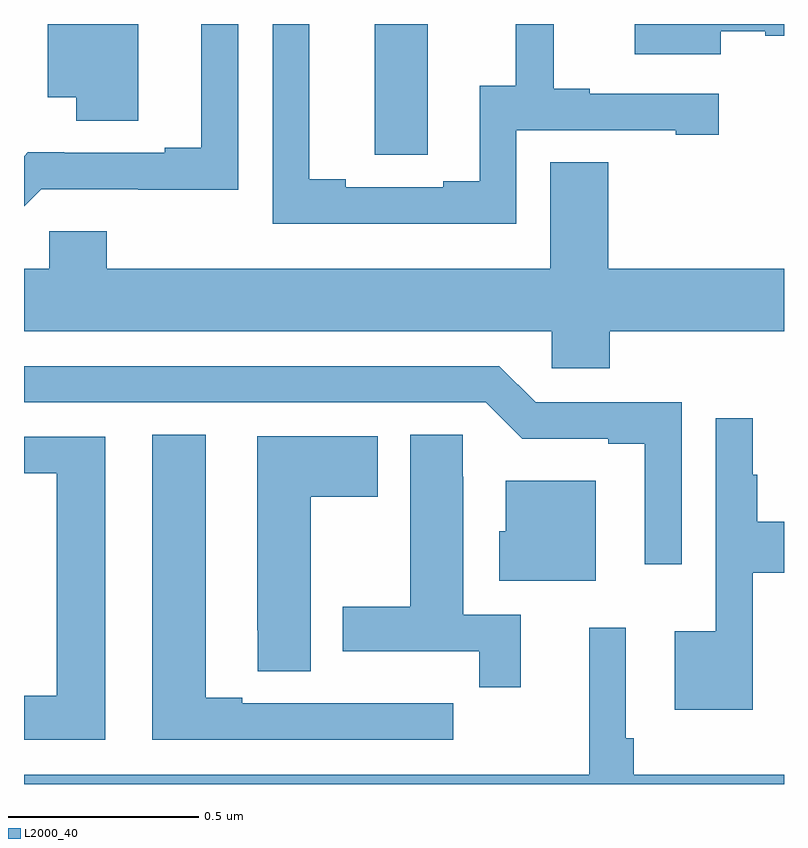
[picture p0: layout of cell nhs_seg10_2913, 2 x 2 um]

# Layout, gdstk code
import gdstk
lib = gdstk.Library(unit=1e-6, precision=1e-09)
def P(c, l, *ps):  # polygons
    for p in ps: c.add(gdstk.Polygon(p, *l))
L2000_40 = (2000, 40)

nhs_seg10_2913 = lib.new_cell('nhs_seg10_2913')
P(nhs_seg10_2913, L2000_40, [(148.296,1258.221),(148.715,1258.221),(148.715,1258.209),(148.828,1258.209),(148.828,1258.317),(148.489,1258.317),(148.489,1258.33),(148.394,1258.33),(148.394,1258.5),(148.294,1258.5),(148.294,1258.337),(148.199,1258.337),(148.199,1258.086),(148.103,1258.086),(148.103,1258.071),(147.847,1258.071),(147.847,1258.091),(147.751,1258.091),(147.751,1258.5),(147.654,1258.5),(147.654,1257.975),(148.296,1257.975)],
  [(147.301,1258.5),(147.062,1258.5),(147.062,1258.307),(147.137,1258.307),(147.137,1258.246),(147.301,1258.246)],
  [(147.045,1258.065),(147.301,1258.065),(147.301,1258.064),(147.564,1258.064),(147.564,1258.5),(147.467,1258.5),(147.467,1258.174),(147.371,1258.174),(147.371,1258.161),(147.106,1258.161),(147.106,1258.162),(147.01,1258.162),(147,1258.152),(147,1258.02)],
  [(148.834,1258.481),(148.95,1258.481),(148.95,1258.469),(149,1258.469),(149,1258.5),(148.607,1258.5),(148.607,1258.421),(148.834,1258.421)],
  [(148.062,1258.264),(148.063,1258.264),(148.063,1258.5),(147.923,1258.5),(147.923,1258.156),(148.062,1258.156)],
  [(148.541,1257.692),(149,1257.692),(149,1257.856),(148.538,1257.856),(148.538,1258.136),(148.385,1258.136),(148.385,1257.856),(147.218,1257.856),(147.218,1257.954),(147.066,1257.954),(147.066,1257.856),(147,1257.856),(147,1257.692),(148.389,1257.692),(148.389,1257.594),(148.541,1257.594)],
  [(148.731,1257.504),(148.347,1257.504),(148.251,1257.6),(147,1257.6),(147,1257.504),(148.215,1257.504),(148.311,1257.408),(148.538,1257.408),(148.538,1257.396),(148.634,1257.396),(148.634,1257.078),(148.731,1257.078)],
  [(148.918,1257.056),(149,1257.056),(149,1257.19),(148.93,1257.19),(148.93,1257.314),(148.918,1257.314),(148.918,1257.463),(148.821,1257.463),(148.821,1256.902),(148.712,1256.902),(148.712,1256.696),(148.918,1256.696)],
  [(148.307,1256.946),(148.156,1256.946),(148.156,1257.308),(148.155,1257.308),(148.155,1257.419),(148.016,1257.419),(148.016,1256.967),(147.839,1256.967),(147.839,1256.85),(148.198,1256.85),(148.198,1256.754),(148.307,1256.754)],
  [(148.129,1256.712),(148.016,1256.712),(148.016,1256.713),(147.85,1256.713),(147.85,1256.712),(147.574,1256.712),(147.574,1256.727),(147.478,1256.727),(147.478,1257.419),(147.338,1257.419),(147.338,1256.616),(148.129,1256.616)],
  [(147.754,1257.256),(147.931,1257.256),(147.931,1257.415),(147.614,1257.415),(147.614,1256.905),(147.615,1256.905),(147.615,1256.797),(147.754,1256.797)],
  [(147.214,1257.414),(147,1257.414),(147,1257.318),(147.086,1257.318),(147.086,1256.732),(147,1256.732),(147,1256.616),(147.214,1256.616)],
  [(148.504,1257.298),(148.268,1257.298),(148.268,1257.165),(148.25,1257.165),(148.25,1257.035),(148.504,1257.035)],
  [(149,1256.524),(148.604,1256.524),(148.604,1256.62),(148.584,1256.62),(148.584,1256.911),(148.487,1256.911),(148.487,1256.524),(147,1256.524),(147,1256.5),(149,1256.5)])

lib.write_gds('nhs_seg10_2913.gds')
